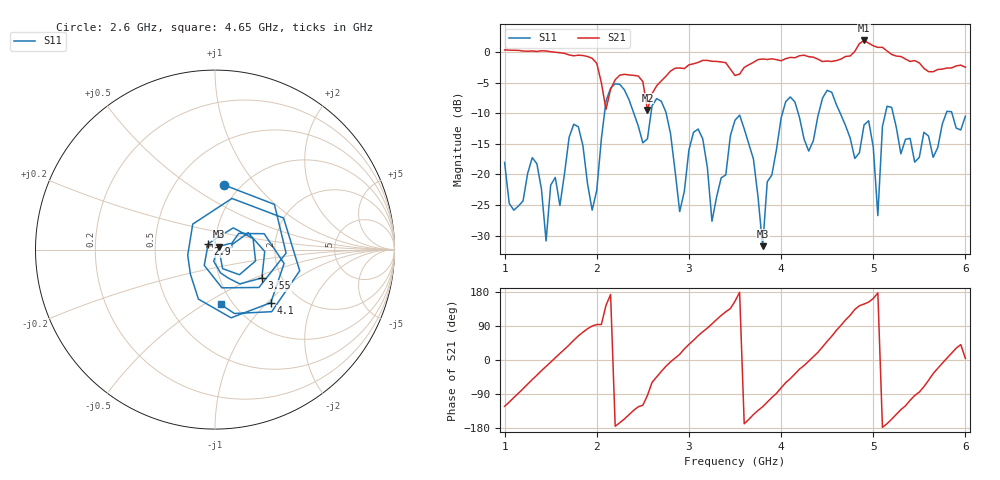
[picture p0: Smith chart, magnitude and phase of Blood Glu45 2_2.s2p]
! NanoVNA-App
! Date: 2024-03-20 20:59:30
! Start: 1GHz Stop: 6GHz Points: 101
! S-Parameter data: F S11 S21 S12 S22
# Hz S RI R 50
!	Frequency	S11_Real	S11_Imag	S21_Real	S21_Imag	S12_Real	S12_Imag	S22_Real	S22_Imag
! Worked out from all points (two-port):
!   101 points, 1 GHz to 6 GHz, reference 50 ohm
!   highest |S21| = 1.88 dB at 4.9 GHz (marker M1); lowest = -9.5 dB at 2.55 GHz (marker M2)
!   |S21| within 3 dB of the highest: start of sweep to 1.955 GHz; 4.655 GHz to 5.346 GHz (691.4 MHz wide, 13.8 % of centre)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
!   lowest |S11| = -31.7 dB at 3.8 GHz (marker M3), VSWR 1.05, Z = 52 + j1.77 ohm
!   |S11| at or under -10 dB: start of sweep to 2.084 GHz; 2.753 GHz to 4.015 GHz (1.262 GHz wide, 37.3 % of centre); 5.215 GHz to 5.792 GHz (577.7 MHz wide, 10.5 % of centre)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
!   S12 and S22 are empty: the file has one direction only
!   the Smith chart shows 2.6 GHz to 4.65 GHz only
!   S11 on the Smith chart (normalised r, x): 2.6 GHz: 0.84, +0.70; 2.9 GHz: 0.92, +0.06; 3.55 GHz: 1.59, -0.55; 4.1 GHz: 1.45, -1.05; 4.65 GHz: 0.88, -0.59
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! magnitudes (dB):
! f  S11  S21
! 1 GHz  -18.0  0.3
! 1.35 GHz  -18.2  0.1
! 1.45 GHz  -30.9  0.2
! 1.85 GHz  -15.3  -0.6
! 1.95 GHz  -25.8  -1.0
! 2.15 GHz  -5.9  -6.1
! 2.55 GHz  -14.2  -9.5
! 2.6 GHz  -8.8  -6.8
! 2.7 GHz  -8.0  -4.7
! 2.9 GHz  -26.1  -2.6
! 3.1 GHz  -12.6  -1.7
! 3.25 GHz  -27.6  -1.5
! 3.5 GHz  -11.1  -3.8
! 3.55 GHz  -10.3  -3.6
! 3.8 GHz  -31.7  -1.1
! 4.1 GHz  -7.3  -0.9
! 4.35 GHz  -14.5  -0.8
! 4.65 GHz  -10.3  -1.2
! 4.9 GHz  -11.9  1.9
! 5.05 GHz  -26.7  0.8
! 5.2 GHz  -9.0  -0.4
! 6 GHz  -10.5  -2.5
